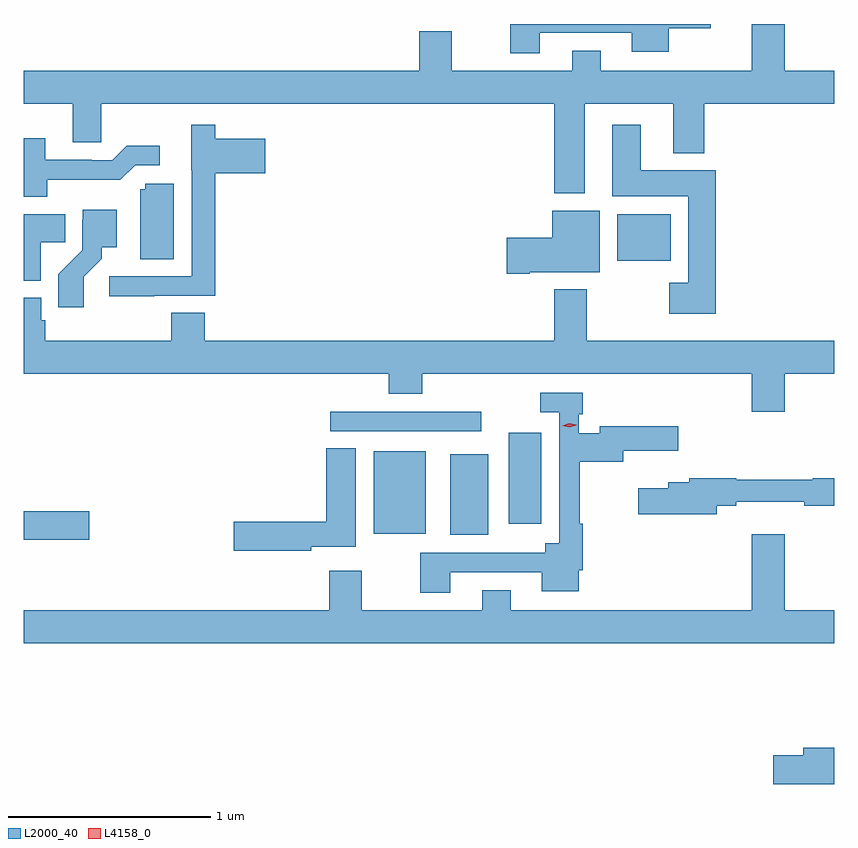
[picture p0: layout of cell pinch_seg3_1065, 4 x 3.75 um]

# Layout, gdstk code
import gdstk
lib = gdstk.Library(unit=1e-6, precision=1e-09)
def R(c, l, rs):  # rectangles x0, y0, x1, y1
    for r in rs: c.add(gdstk.rectangle(r[:2], r[2:], *l))
def P(c, l, *ps):  # polygons
    for p in ps: c.add(gdstk.Polygon(p, *l))
L2000_40 = (2000, 40)
L4158_0 = (4158, 0)

pinch_seg3_1065 = lib.new_cell('pinch_seg3_1065')
R(pinch_seg3_1065, L2000_40, [(353.223,674.788,353.545,674.93), (355.328,674.813,355.516,675.211), (354.95,674.819,355.207,675.226), (355.616,674.868,355.777,675.316), (354.735,675.324,355.48,675.42), (356.153,676.166,356.416,676.396)])
P(pinch_seg3_1065, L2000_40, [(355.993,676.94),(356.429,676.94),(356.429,676.697),(356.582,676.697),(356.582,676.94),(357.223,676.94),(357.223,677.104),(356.98,677.104),(356.98,677.335),(356.816,677.335),(356.816,677.104),(356.071,677.104),(356.071,677.203),(355.931,677.203),(355.931,677.104),(355.335,677.104),(355.335,677.299),(355.175,677.299),(355.175,677.104),(353.223,677.104),(353.223,676.94),(353.465,676.94),(353.465,676.75),(353.604,676.75),(353.604,676.94),(355.841,676.94),(355.841,676.499),(355.993,676.499)],
  [(355.771,677.292),(356.225,677.292),(356.225,677.198),(356.407,677.198),(356.407,677.315),(356.614,677.315),(356.614,677.335),(355.624,677.335),(355.624,677.19),(355.771,677.19)],
  [(353.867,675.993),(354.167,675.993),(354.167,676.598),(354.415,676.598),(354.415,676.768),(354.167,676.768),(354.167,676.837),(354.05,676.837),(354.05,676.614),(354.051,676.614),(354.051,676.089),(353.643,676.089),(353.643,675.991),(353.867,675.991)],
  [(356.639,676.612),(356.269,676.612),(356.269,676.837),(356.129,676.837),(356.129,676.484),(356.504,676.484),(356.504,676.057),(356.409,676.057),(356.409,675.905),(356.639,675.905)],
  [(353.337,676.566),(353.699,676.566),(353.772,676.638),(353.893,676.638),(353.893,676.735),(353.731,676.735),(353.658,676.662),(353.558,676.662),(353.558,676.665),(353.329,676.665),(353.329,676.771),(353.223,676.771),(353.223,676.481),(353.337,676.481)],
  [(353.962,676.545),(353.823,676.545),(353.823,676.518),(353.798,676.518),(353.798,676.174),(353.962,676.174)],
  [(353.518,676.087),(353.608,676.177),(353.608,676.232),(353.68,676.232),(353.68,676.417),(353.513,676.417),(353.513,676.368),(353.511,676.368),(353.511,676.217),(353.392,676.098),(353.392,675.936),(353.518,675.936)],
  [(355.72,676.109),(356.065,676.109),(356.065,676.414),(355.832,676.414),(355.832,676.28),(355.608,676.28),(355.608,676.102),(355.72,676.102)],
  [(353.305,676.258),(353.426,676.258),(353.426,676.396),(353.223,676.396),(353.223,676.067),(353.305,676.067)],
  [(356.98,675.608),(357.223,675.608),(357.223,675.772),(356.001,675.772),(356.001,676.024),(355.841,676.024),(355.841,675.772),(354.116,675.772),(354.116,675.908),(353.951,675.908),(353.951,675.772),(353.327,675.772),(353.327,675.873),(353.307,675.873),(353.307,675.982),(353.223,675.982),(353.223,675.608),(355.025,675.608),(355.025,675.509),(355.19,675.509),(355.19,675.608),(356.816,675.608),(356.816,675.42),(356.98,675.42)],
  [(355.327,674.628),(355.781,674.628),(355.781,674.534),(355.963,674.534),(355.963,674.638),(355.982,674.638),(355.982,674.866),(355.967,674.866),(355.967,675.173),(356.182,675.173),(356.182,675.227),(356.455,675.227),(356.455,675.349),(356.066,675.349),(356.066,675.315),(355.962,675.315),(355.962,675.407),(355.982,675.407),(355.982,675.513),(355.773,675.513),(355.773,675.417),(355.866,675.417),(355.866,674.77),(355.796,674.77),(355.796,674.724),(355.18,674.724),(355.18,674.526),(355.327,674.526)],
  [(354.642,674.753),(354.862,674.753),(354.862,675.239),(354.716,675.239),(354.716,674.876),(354.258,674.876),(354.258,674.734),(354.642,674.734)],
  [(356.644,674.956),(356.74,674.956),(356.74,674.975),(357.076,674.975),(357.076,674.956),(357.223,674.956),(357.223,675.092),(357.118,675.092),(357.118,675.085),(356.74,675.085),(356.74,675.092),(356.509,675.092),(356.509,675.073),(356.405,675.073),(356.405,675.043),(356.256,675.043),(356.256,674.914),(356.644,674.914)],
  [(357.223,674.44),(356.98,674.44),(356.98,674.815),(356.816,674.815),(356.816,674.44),(355.627,674.44),(355.627,674.539),(355.487,674.539),(355.487,674.44),(354.891,674.44),(354.891,674.635),(354.731,674.635),(354.731,674.44),(353.223,674.44),(353.223,674.276),(357.223,674.276)],
  [(357.223,673.76),(357.071,673.76),(357.071,673.724),(356.922,673.724),(356.922,673.582),(357.223,673.582)])
P(pinch_seg3_1065, L4158_0, [(355.917,675.343),(355.882,675.352),(355.882,675.352),(355.882,675.352),(355.916,675.363),(355.95,675.355),(355.95,675.355),(355.95,675.354)])

lib.write_gds('pinch_seg3_1065.gds')
